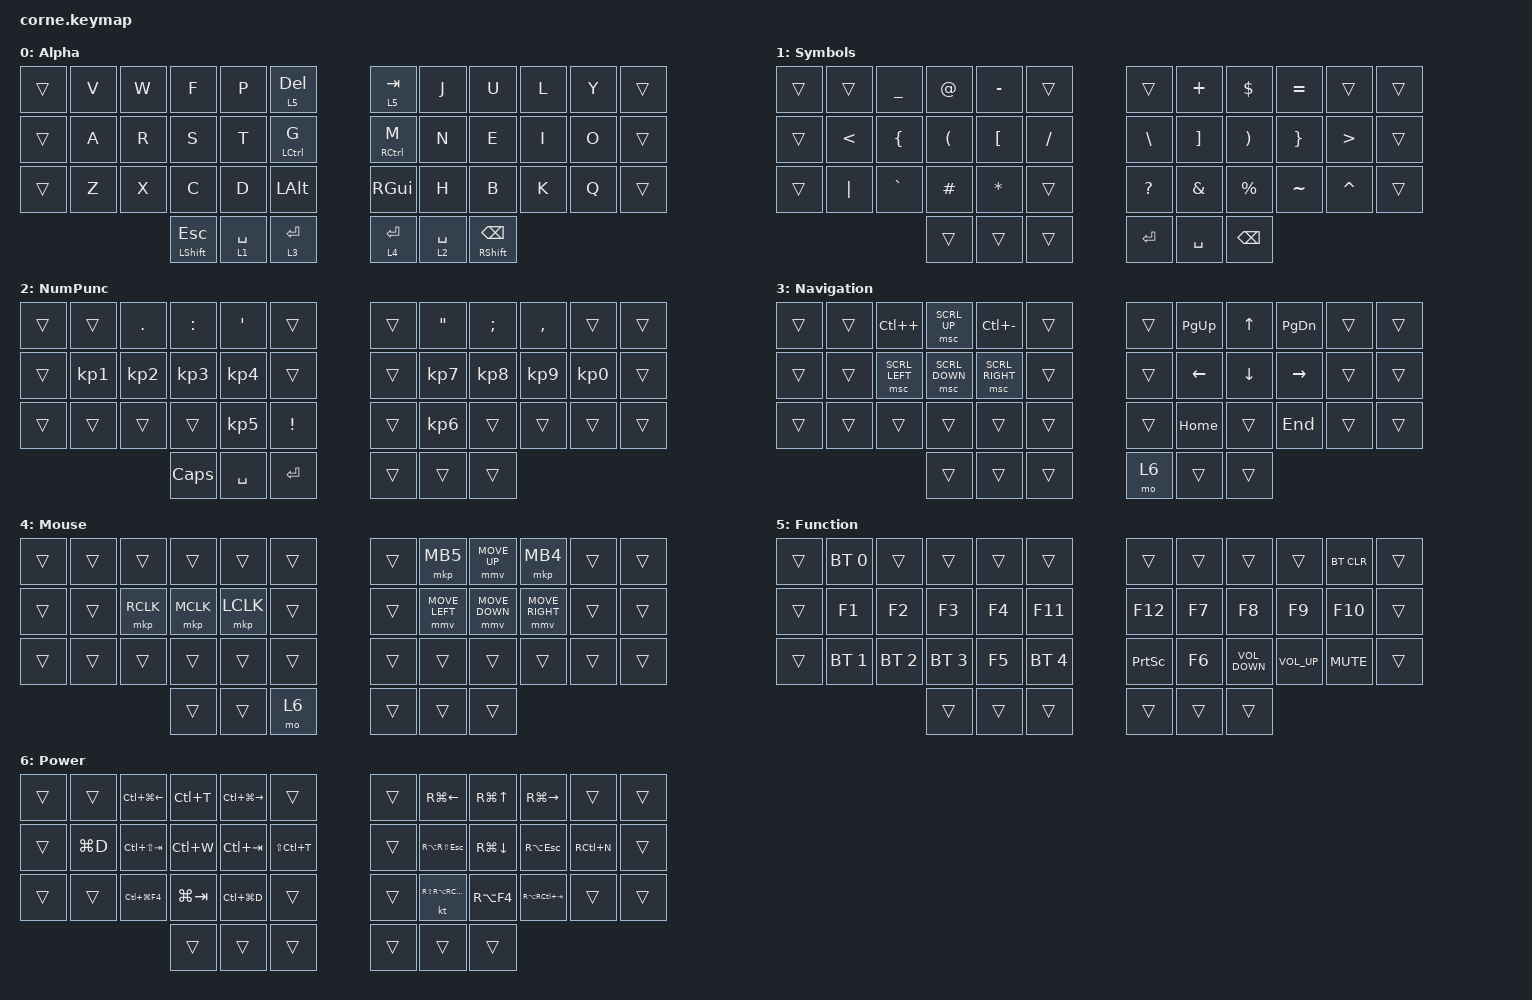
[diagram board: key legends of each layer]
/*
 * Copyright (c) 2020 The ZMK Contributors
 *
 * SPDX-License-Identifier: MIT
 */

#define ZMK_POINTING_DEFAULT_MOVE_VAL 3000  // default: 600
#define ZMK_POINTING_DEFAULT_SCRL_VAL  10    // default: 10


#include <behaviors.dtsi>
#include <dt-bindings/zmk/bt.h>
#include <dt-bindings/zmk/keys.h>
#include <dt-bindings/zmk/pointing.h>

&mmv {
    x-input-code = <INPUT_REL_X>;
    y-input-code = <INPUT_REL_Y>;
    time-to-max-speed-ms = <1000>;
    acceleration-exponent = <1>;
};

&msc {
    x-input-code = <INPUT_REL_HWHEEL>;
    y-input-code = <INPUT_REL_WHEEL>;
    time-to-max-speed-ms = <0>;
    acceleration-exponent = <0>;
};

/ {
    combos { compatible = "zmk,combos"; };

    keymap {
        compatible = "zmk,keymap";

        Alpha {
            bindings = <
&trans  &kp V  &kp W  &kp F                  &kp P        &lt 5 DELETE          &lt 5 TAB            &kp J        &kp U                      &kp L  &kp Y  &trans
&trans  &kp A  &kp R  &kp S                  &kp T        &mt LEFT_CONTROL G    &mt RIGHT_CONTROL M  &kp N        &kp E                      &kp I  &kp O  &trans
&trans  &kp Z  &kp X  &kp C                  &kp D        &kp LEFT_ALT          &kp RIGHT_GUI        &kp H        &kp B                      &kp K  &kp Q  &trans
                      &mt LEFT_SHIFT ESCAPE  &lt 1 SPACE  &lt 3 ENTER           &lt 4 ENTER          &lt 2 SPACE  &mt RIGHT_SHIFT BACKSPACE
            >;
        };

        Symbols {
            bindings = <
&trans  &trans         &kp UNDERSCORE  &kp AT_SIGN           &kp MINUS         &trans       &trans         &kp PLUS           &kp DOLLAR             &kp EQUAL        &trans            &trans
&trans  &kp LESS_THAN  &kp LEFT_BRACE  &kp LEFT_PARENTHESIS  &kp LEFT_BRACKET  &kp SLASH    &kp BACKSLASH  &kp RIGHT_BRACKET  &kp RIGHT_PARENTHESIS  &kp RIGHT_BRACE  &kp GREATER_THAN  &trans
&trans  &kp PIPE       &kp GRAVE       &kp HASH              &kp ASTERISK      &trans       &kp QUESTION   &kp AMPERSAND      &kp PERCENT            &kp TILDE        &kp CARET         &trans
                                       &trans                &trans            &trans       &kp ENTER      &kp SPACE          &kp BACKSPACE
            >;
        };

        NumPunc {
            bindings = <
&trans  &trans           &kp PERIOD       &kp COLON        &kp APOSTROPHE   &trans             &trans  &kp DOUBLE_QUOTES  &kp SEMICOLON    &kp COMMA        &trans           &trans
&trans  &kp KP_NUMBER_1  &kp KP_NUMBER_2  &kp KP_NUMBER_3  &kp KP_NUMBER_4  &trans             &trans  &kp KP_NUMBER_7    &kp KP_NUMBER_8  &kp KP_NUMBER_9  &kp KP_NUMBER_0  &trans
&trans  &trans           &trans           &trans           &kp KP_NUMBER_5  &kp EXCLAMATION    &trans  &kp KP_NUMBER_6    &trans           &trans           &trans           &trans
                                          &kp CAPSLOCK     &kp SPACE        &kp ENTER          &trans  &trans             &trans
            >;
        };

        Navigation {
            bindings = <
&trans  &trans  &kp LC(PLUS)    &msc SCRL_UP    &kp LC(MINUS)    &trans    &trans  &kp PAGE_UP  &kp UP_ARROW  &kp PAGE_DOWN  &trans  &trans
&trans  &trans  &msc SCRL_LEFT  &msc SCRL_DOWN  &msc SCRL_RIGHT  &trans    &trans  &kp LEFT     &kp DOWN      &kp RIGHT      &trans  &trans
&trans  &trans  &trans          &trans          &trans           &trans    &trans  &kp HOME     &trans        &kp END        &trans  &trans
                                &trans          &trans           &trans    &mo 6   &trans       &trans
            >;
        };

        Mouse {
            bindings = <
&trans  &trans  &trans     &trans     &trans     &trans    &trans  &mkp MB5        &mmv MOVE_UP    &mkp MB4         &trans  &trans
&trans  &trans  &mkp RCLK  &mkp MCLK  &mkp LCLK  &trans    &trans  &mmv MOVE_LEFT  &mmv MOVE_DOWN  &mmv MOVE_RIGHT  &trans  &trans
&trans  &trans  &trans     &trans     &trans     &trans    &trans  &trans          &trans          &trans           &trans  &trans
                           &trans     &trans     &mo 6     &trans  &trans          &trans
            >;
        };

        Function {
            bindings = <
&trans  &bt BT_SEL 0  &trans        &trans        &trans  &trans          &trans           &trans  &trans             &trans           &bt BT_CLR  &trans
&trans  &kp F1        &kp F2        &kp F3        &kp F4  &kp F11         &kp F12          &kp F7  &kp F8             &kp F9           &kp F10     &trans
&trans  &bt BT_SEL 1  &bt BT_SEL 2  &bt BT_SEL 3  &kp F5  &bt BT_SEL 4    &kp PRINTSCREEN  &kp F6  &kp C_VOLUME_DOWN  &kp C_VOLUME_UP  &kp C_MUTE  &trans
                                    &trans        &trans  &trans          &trans           &trans  &trans
            >;
        };

        Power {
            bindings = <
&trans  &trans     &kp LC(LG(LEFT_ARROW))  &kp LC(T)    &kp LC(LG(RIGHT_ARROW))  &trans           &trans  &kp RG(LEFT)         &kp RG(UP_ARROW)  &kp RG(RIGHT)    &trans     &trans
&trans  &kp LG(D)  &kp LC(LS(TAB))         &kp LC(W)    &kp LC(TAB)              &kp LS(LC(T))    &trans  &kp RA(RS(ESCAPE))   &kp RG(DOWN)      &kp RA(ESCAPE)   &kp RC(N)  &trans
&trans  &trans     &kp LC(LG(F4))          &kp LG(TAB)  &kp LC(LG(D))            &trans           &trans  &kt RS(RA(RC(TAB)))  &kp RA(F4)        &kp RA(RC(TAB))  &trans     &trans
                                           &trans       &trans                   &trans           &trans  &trans               &trans
            >;
        };
    };

    conditional_layers { compatible = "zmk,conditional-layers"; };
};
